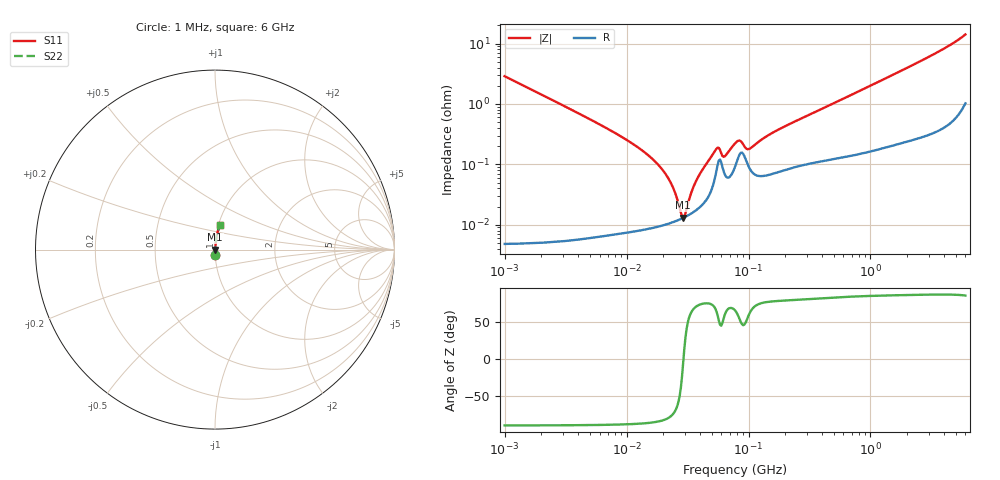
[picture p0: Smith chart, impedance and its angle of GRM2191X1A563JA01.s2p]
!Murata Part Number: GRM2191X1A563JA01
!These Parameters are Measured in Series Mode Connection
!Data Generated on Mar 30, 2021
!  o--ll--o
!Port1  Port2
!  o------o
!Operation Temp=25[degC], DC Bias Voltage=0[V]
!Freq. Start=1000[kHz] Stop=6[GHz] 401[Steps]
# Hz S RI R 50
!Freq.(Hz) S11(Real) S11(Imag) S21(Real) S21(Imag) S12(Real) S12(Imag) S22(Real) S22(Imag)
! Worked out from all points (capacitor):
!   401 points, 1 MHz to 6 GHz, reference 50 ohm
!   read as one part in series: C = 55.2 nF near 1.044 MHz
!   lowest |Z| = 13 mohm at 29.11 MHz (marker M1)
!   series resonance near 29.29 MHz, so ESL is about 530 pH
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1000000  0.000877 -0.0288  0.9991 0.0288  0.9991 0.0288  0.000877 -0.0288
4293785  0.000101 -0.00656  0.9999 0.00656  0.9999 0.00656  0.000101 -0.00656
1.093935e7  8.1e-05 -0.00227  0.9999 0.00227  0.9999 0.00227  8.1e-05 -0.00227
1.843659e7  9.44e-05 -0.00095  0.9999 0.00095  0.9999 0.00095  9.44e-05 -0.00095
2.341962e7  0.000108 -0.00045  0.9999 0.00045  0.9999 0.00045  0.000108 -0.00045
2.787038e7  0.000124 -0.0001  0.9999 0.0001  0.9999 0.0001  0.000124 -0.0001
2.910942e7  0.00013 -1.25e-05  0.9999 1.25e-05  0.9999 1.25e-05  0.00013 -1.25e-05
3.040356e7  0.000135 7.58e-05  0.9999 -7.58e-05  0.9999 -7.58e-05  0.000135 7.58e-05
3.389622e7  0.000153 0.000301  0.9998 -0.000301  0.9998 -0.000301  0.000153 0.000301
3.779011e7  0.000179 0.000539  0.9998 -0.000539  0.9998 -0.000539  0.000179 0.000539
5.351853e7  0.000648 0.00158  0.9994 -0.00158  0.9994 -0.00158  0.000648 0.00158
5.712686e7  0.00116 0.00147  0.9988 -0.00147  0.9988 -0.00147  0.00116 0.00147
6.368941e7  0.00069 0.00116  0.9993 -0.00116  0.9993 -0.00116  0.00069 0.00116
7.745967e7  0.00091 0.00202  0.9991 -0.00202  0.9991 -0.00202  0.00091 0.00202
8.450008e7  0.00146 0.002  0.9985 -0.002  0.9985 -0.002  0.00146 0.002
9.627852e7  0.00111 0.00142  0.9989 -0.00142  0.9989 -0.00142  0.00111 0.00142
1.027698e8  0.000837 0.00162  0.9992 -0.00162  0.9992 -0.00162  0.000837 0.00162
1.587717e8  0.00071 0.00329  0.9993 -0.00329  0.9993 -0.00329  0.00071 0.00329
3.325952e8  0.00109 0.0069  0.9989 -0.0069  0.9989 -0.0069  0.00109 0.0069
1.428092e9  0.00277 0.0283  0.9972 -0.0283  0.9972 -0.0283  0.00277 0.0283
3.5601e9  0.00868 0.0715  0.9913 -0.0715  0.9913 -0.0715  0.00868 0.0715
6e9  0.0291 0.1358  0.9709 -0.1358  0.9709 -0.1358  0.0291 0.1358
